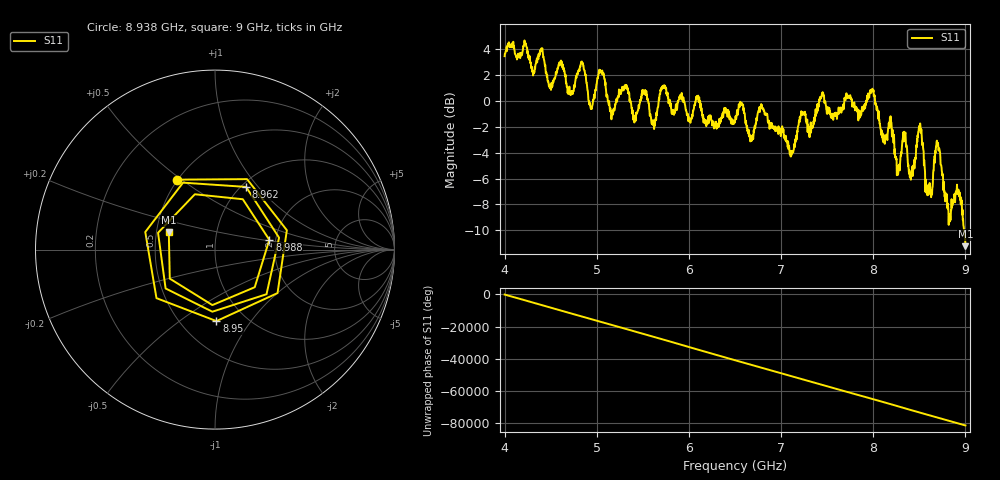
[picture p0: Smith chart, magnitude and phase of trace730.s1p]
! Created with skrf 1.8.0 (http://scikit-rf.org).
# Hz S RI R 50.0
!freq ReS11 ImS11
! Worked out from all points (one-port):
!   1601 points, 4 GHz to 9 GHz, reference 50 ohm
!   lowest |S11| = -11.2 dB at 9 GHz (marker M1), VSWR 1.76, Z = 29.1 + j6.06 ohm
!   |S11| at or under -10 dB: 8.985316 GHz to end of sweep
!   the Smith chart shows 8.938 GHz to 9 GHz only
!   S11 on the Smith chart (normalised r, x): 8.938 GHz: 0.50, +0.48; 8.95 GHz: 0.74, -0.70; 8.962 GHz: 1.05, +0.87; 8.988 GHz: 1.85, +0.22; 9 GHz: 0.58, +0.12
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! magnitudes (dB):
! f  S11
! 4 GHz  3.5
! 4.625 GHz  2.6
! 4.716 GHz  0.4
! 4.844 GHz  2.9
! 4.934 GHz  -0.6
! 5.041 GHz  2.3
! 5.162 GHz  -1.2
! 5.25 GHz  0.8
! 5.612 GHz  -1.7
! 5.875 GHz  -0.3
! 6.5 GHz  -1.5
! 6.675 GHz  -2.8
! 6.791 GHz  -0.3
! 7.125 GHz  -3.9
! 7.438 GHz  0.3
! 7.75 GHz  0.4
! 7.991 GHz  0.9
! 8.262 GHz  -5.5
! 8.375 GHz  -4.7
! 8.506 GHz  -2.2
! 8.597 GHz  -6.5
! 8.697 GHz  -3.2
! 8.822 GHz  -8.7
! 8.938 GHz  -7.1
! 8.95 GHz  -8.0
! 8.962 GHz  -8.2
! 8.988 GHz  -10.2
! 9 GHz  -11.2
